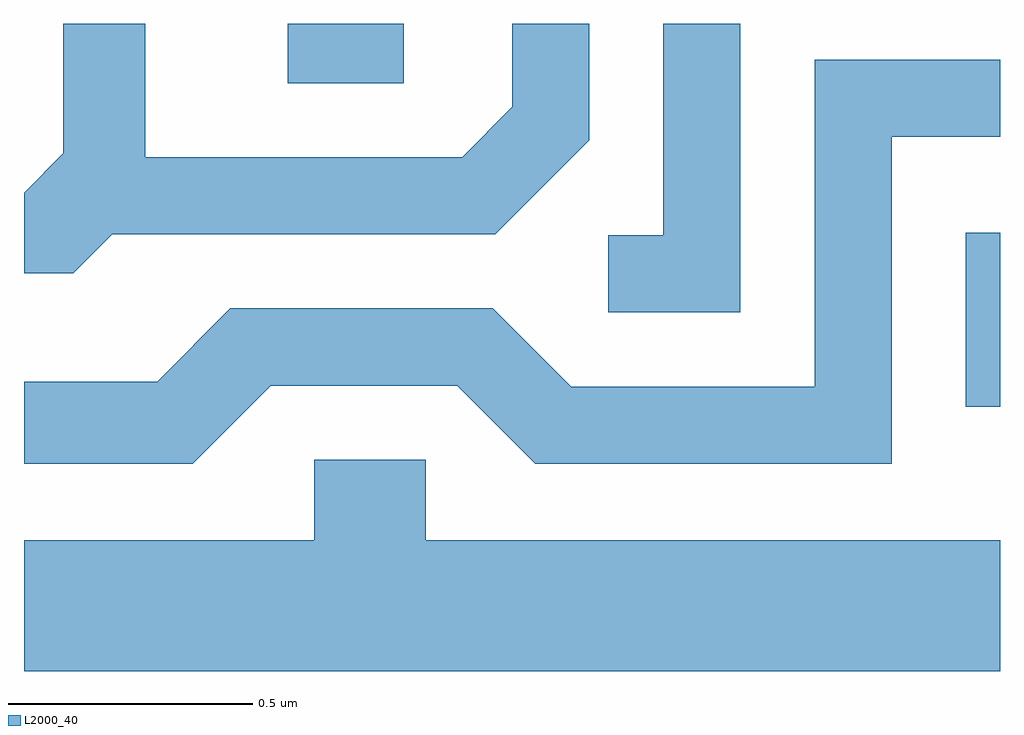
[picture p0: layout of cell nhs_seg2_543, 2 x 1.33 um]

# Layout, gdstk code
import gdstk
lib = gdstk.Library(unit=1e-6, precision=1e-09)
def R(c, l, rs):  # rectangles x0, y0, x1, y1
    for r in rs: c.add(gdstk.rectangle(r[:2], r[2:], *l))
def P(c, l, *ps):  # polygons
    for p in ps: c.add(gdstk.Polygon(p, *l))
L2000_40 = (2000, 40)

nhs_seg2_543 = lib.new_cell('nhs_seg2_543')
R(nhs_seg2_543, L2000_40, [(190.541,1111.018,190.611,1111.374), (189.151,1111.681,189.389,1111.802)])
P(nhs_seg2_543, L2000_40, [(188.792,1111.371),(189.577,1111.371),(189.769,1111.564),(189.769,1111.802),(189.611,1111.802),(189.611,1111.632),(189.509,1111.529),(188.859,1111.529),(188.859,1111.802),(188.691,1111.802),(188.691,1111.537),(188.611,1111.456),(188.611,1111.291),(188.712,1111.291)],
  [(190.079,1111.802),(189.921,1111.802),(189.921,1111.369),(189.808,1111.369),(189.808,1111.211),(190.079,1111.211)],
  [(189.117,1111.061),(189.499,1111.061),(189.659,1110.901),(190.389,1110.901),(190.389,1111.571),(190.611,1111.571),(190.611,1111.729),(190.231,1111.729),(190.231,1111.059),(189.732,1111.059),(189.572,1111.219),(189.034,1111.219),(188.884,1111.069),(188.611,1111.069),(188.611,1110.901),(188.957,1110.901)],
  [(190.611,1110.744),(189.434,1110.744),(189.434,1110.909),(189.206,1110.909),(189.206,1110.744),(188.611,1110.744),(188.611,1110.476),(190.611,1110.476)])

lib.write_gds('nhs_seg2_543.gds')
